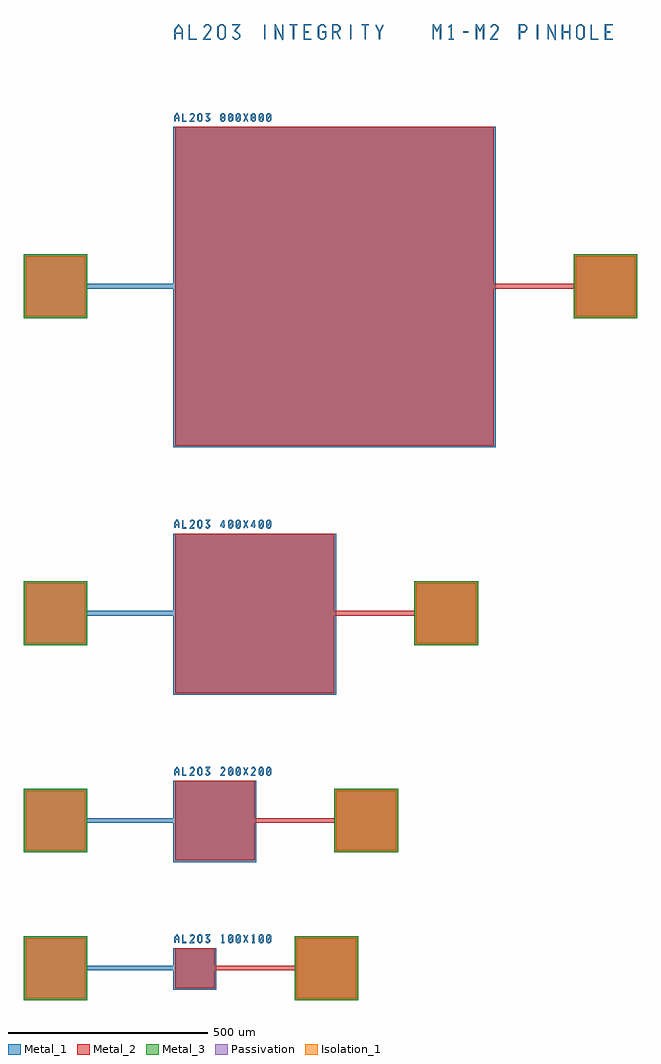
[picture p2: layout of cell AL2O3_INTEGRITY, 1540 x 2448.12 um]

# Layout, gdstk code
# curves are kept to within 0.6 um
import gdstk
lib = gdstk.Library(unit=1e-6, precision=1e-09)
def R(c, l, rs):  # rectangles x0, y0, x1, y1
    for r in rs: c.add(gdstk.rectangle(r[:2], r[2:], *l))
def P(c, l, *ps):  # polygons
    for p in ps: c.add(gdstk.Polygon(p, *l))
Metal_1 = (1, 0)
Isolation_1 = (2, 0)
Metal_2 = (3, 0)
Metal_3 = (5, 0)
Passivation = (6, 0)

al2o3_integrity = lib.new_cell('AL2O3_INTEGRITY')
R(al2o3_integrity, Metal_1, [(-380,-30,-220,130), (-4,-4,104,100), (-221,44,-199,56), (-200,44,-4,56), (-4,316,204,520), (-380,340,-220,500), (-221,414,-199,426), (-200,414,-4,426), (-4,736,404,1140), (-380,860,-220,1020), (-221,934,-199,946), (-200,934,-4,946), (-4,1356,804,2160), (-380,1680,-220,1840), (-221,1754,-199,1766), (-200,1754,-4,1766), (223.5,2380,226.5,2416), (439.5,2380,442.5,2416), (907.5,2380,910.5,2416), (723,2396.5,735,2399.5)])
P(al2o3_integrity, Metal_1, [(70.499,2378.5),(69.9,2379.7),(88.5,2404.5),(88.5,2409.378),(83.378,2414.5),(78.622,2414.5),(73.061,2408.939),(70.939,2411.061),(77.378,2417.5),(84.622,2417.5),(91.5,2410.622),(91.5,2403.5),(75.6,2382.3),(76,2381.5),(90,2381.5),(90,2378.5)],
  [(790.499,2378.5),(789.9,2379.7),(808.5,2404.5),(808.5,2409.378),(803.378,2414.5),(798.622,2414.5),(793.061,2408.939),(790.939,2411.061),(797.378,2417.5),(804.622,2417.5),(811.5,2410.622),(811.5,2403.5),(795.6,2382.3),(796,2381.5),(810,2381.5),(810,2378.5)],
  [(120.1,1154),(120.1,1158.9),(113.7,1158.9),(113.187,1159.73),(120.258,1173.871),(121.599,1173.2),(123.1,1173.2),(123.1,1161.9),(124.8,1161.9),(124.8,1158.9),(123.1,1158.9),(123.1,1154)],
  [(196.9,1154),(196.9,1158.9),(190.5,1158.9),(189.987,1159.73),(197.058,1173.871),(198.399,1173.2),(199.9,1173.2),(199.9,1161.9),(201.6,1161.9),(201.6,1158.9),(199.9,1158.9),(199.9,1154)],
  [(117.778,2172.5),(114.139,2176.139),(113.7,2177.2),(113.7,2182.1),(116.7,2182.1),(116.7,2177.822),(119.022,2175.5),(120.978,2175.5),(123.3,2177.822),(123.3,2182.1),(113.7,2182.1),(113.7,2190.622),(114.778,2191.7),(119.022,2191.7),(116.7,2189.378),(116.7,2185.1),(123.3,2185.1),(123.3,2189.378),(120.978,2191.7),(114.778,2191.7),(117.778,2194.7),(122.222,2194.7),(126.3,2190.622),(126.3,2176.578),(122.222,2172.5)],
  [(194.578,2172.5),(190.939,2176.139),(190.5,2177.2),(190.5,2182.1),(193.5,2182.1),(193.5,2177.822),(195.822,2175.5),(197.778,2175.5),(200.1,2177.822),(200.1,2182.1),(190.5,2182.1),(190.5,2190.622),(191.578,2191.7),(195.822,2191.7),(193.5,2189.378),(193.5,2185.1),(200.1,2185.1),(200.1,2189.378),(197.778,2191.7),(191.578,2191.7),(194.578,2194.7),(199.022,2194.7),(203.1,2190.622),(203.1,2176.578),(199.022,2172.5)],
  [(511.5,2380),(511.5,2397.647),(502.657,2415.329),(505.342,2416.672),(512.553,2402.247),(513.447,2402.247),(520.658,2416.672),(523.343,2415.329),(514.5,2397.647),(514.5,2380)],
  [(17.7,112.5),(17.7,133.2),(20.7,133.2),(20.7,115.5),(28.8,115.5),(28.8,112.5)],
  [(17.7,532.5),(17.7,553.2),(20.7,553.2),(20.7,535.5),(28.8,535.5),(28.8,532.5)],
  [(17.7,1152.5),(17.7,1173.2),(20.7,1173.2),(20.7,1155.5),(28.8,1155.5),(28.8,1152.5)],
  [(17.7,2172.5),(17.7,2193.2),(20.7,2193.2),(20.7,2175.5),(28.8,2175.5),(28.8,2172.5)],
  [(322.5,2378.5),(322.5,2417.5),(342,2417.5),(342,2414.5),(325.5,2414.5),(325.5,2399.5),(336,2399.5),(336,2396.5),(325.5,2396.5),(325.5,2381.5),(342,2381.5),(342,2378.5)],
  [(1078.5,2378.5),(1078.5,2417.5),(1098,2417.5),(1098,2414.5),(1081.5,2414.5),(1081.5,2399.5),(1092,2399.5),(1092,2396.5),(1081.5,2396.5),(1081.5,2381.5),(1098,2381.5),(1098,2378.5)],
  [(-1.5,2380),(-1.5,2404.5),(5.05,2413.233),(8.8,2413.233),(1.5,2403.5),(1.5,2396.5),(16.5,2396.5),(16.5,2403.5),(9.2,2413.233),(5.05,2413.233),(8.7,2418.1),(9.3,2418.1),(19.5,2404.5),(19.5,2380),(16.5,2380),(16.5,2393.5),(1.5,2393.5),(1.5,2380)],
  [(79.378,112.5),(75.739,116.139),(77.861,118.261),(80.622,115.5),(82.578,115.5),(84.9,117.822),(84.9,119.65),(79.1,124),(79.999,125.2),(78.829,126.137),(82.604,130.856),(82.198,131.7),(76.8,131.7),(76.8,134.7),(87.9,134.7),(88.508,133.434),(82.158,125.497),(87.9,121.15),(87.9,116.578),(83.822,112.5)],
  [(79.378,532.5),(75.739,536.139),(77.861,538.261),(80.622,535.5),(82.578,535.5),(84.9,537.822),(84.9,539.65),(79.1,544),(79.999,545.2),(78.829,546.137),(82.604,550.856),(82.198,551.7),(76.8,551.7),(76.8,554.7),(87.9,554.7),(88.508,553.434),(82.158,545.497),(87.9,541.15),(87.9,536.578),(83.822,532.5)],
  [(79.378,1152.5),(75.739,1156.139),(77.861,1158.261),(80.622,1155.5),(82.578,1155.5),(84.9,1157.822),(84.9,1159.65),(79.1,1164),(79.999,1165.2),(78.829,1166.137),(82.604,1170.856),(82.198,1171.7),(76.8,1171.7),(76.8,1174.7),(87.9,1174.7),(88.508,1173.434),(82.158,1165.497),(87.9,1161.15),(87.9,1156.578),(83.822,1152.5)],
  [(79.378,2172.5),(75.739,2176.139),(77.861,2178.261),(80.622,2175.5),(82.578,2175.5),(84.9,2177.822),(84.9,2179.65),(79.1,2184),(79.999,2185.2),(78.829,2186.137),(82.604,2190.856),(82.198,2191.7),(76.8,2191.7),(76.8,2194.7),(87.9,2194.7),(88.508,2193.434),(82.158,2185.497),(87.9,2181.15),(87.9,2176.578),(83.822,2172.5)],
  [(116.8,112.5),(116.8,115.5),(118.5,115.5),(118.5,128.3),(115.739,131.061),(120,135.322),(121.5,134.7),(121.5,115.5),(123.2,115.5),(123.2,112.5)],
  [(193.6,112.5),(193.6,115.5),(195.3,115.5),(195.3,128.3),(192.539,131.061),(196.8,135.322),(198.3,134.7),(198.3,115.5),(200,115.5),(200,112.5)],
  [(60.178,112.5),(56.539,116.139),(56.1,117.2),(56.1,130.622),(57.178,131.7),(61.422,131.7),(59.1,129.378),(59.1,117.822),(61.422,115.5),(63.378,115.5),(65.7,117.822),(65.7,129.378),(63.378,131.7),(57.178,131.7),(60.178,134.7),(64.622,134.7),(68.7,130.622),(68.7,116.578),(64.622,112.5)],
  [(60.178,532.5),(56.539,536.139),(56.1,537.2),(56.1,550.622),(57.178,551.7),(61.422,551.7),(59.1,549.378),(59.1,537.822),(61.422,535.5),(63.378,535.5),(65.7,537.822),(65.7,549.378),(63.378,551.7),(57.178,551.7),(60.178,554.7),(64.622,554.7),(68.7,550.622),(68.7,536.578),(64.622,532.5)],
  [(60.178,1152.5),(56.539,1156.139),(56.1,1157.2),(56.1,1170.622),(57.178,1171.7),(61.422,1171.7),(59.1,1169.378),(59.1,1157.822),(61.422,1155.5),(63.378,1155.5),(65.7,1157.822),(65.7,1169.378),(63.378,1171.7),(57.178,1171.7),(60.178,1174.7),(64.622,1174.7),(68.7,1170.622),(68.7,1156.578),(64.622,1152.5)],
  [(60.178,2172.5),(56.539,2176.139),(56.1,2177.2),(56.1,2190.622),(57.178,2191.7),(61.422,2191.7),(59.1,2189.378),(59.1,2177.822),(61.422,2175.5),(63.378,2175.5),(65.7,2177.822),(65.7,2189.378),(63.378,2191.7),(57.178,2191.7),(60.178,2194.7),(64.622,2194.7),(68.7,2190.622),(68.7,2176.578),(64.622,2172.5)],
  [(412.658,2379.328),(404.072,2396.5),(397.5,2396.5),(397.5,2380),(394.5,2380),(394.5,2414.5),(397.5,2414.5),(397.5,2399.5),(407.378,2399.5),(412.5,2404.622),(412.5,2409.378),(407.378,2414.5),(394.5,2414.5),(394.5,2417.5),(408.622,2417.5),(415.5,2410.622),(415.5,2403.378),(407.825,2395.703),(415.343,2380.671)],
  [(136.978,112.5),(133.339,116.139),(132.9,117.2),(132.9,130.622),(133.978,131.7),(138.222,131.7),(135.9,129.378),(135.9,123.7),(137.1,123.3),(137.55,123.9),(141.3,123.9),(136.381,117.341),(138.222,115.5),(140.178,115.5),(142.5,117.822),(142.5,123.5),(137.55,123.9),(142.019,129.859),(140.178,131.7),(133.978,131.7),(136.978,134.7),(141.422,134.7),(145.5,130.622),(145.5,116.578),(141.422,112.5)],
  [(156.178,112.5),(152.539,116.139),(152.1,117.2),(152.1,130.622),(153.178,131.7),(157.422,131.7),(155.1,129.378),(155.1,123.7),(156.3,123.3),(156.75,123.9),(160.5,123.9),(155.581,117.341),(157.422,115.5),(159.378,115.5),(161.7,117.822),(161.7,123.5),(156.75,123.9),(161.219,129.859),(159.378,131.7),(153.178,131.7),(156.178,134.7),(160.622,134.7),(164.7,130.622),(164.7,116.578),(160.622,112.5)],
  [(136.978,532.5),(133.339,536.139),(132.9,537.2),(132.9,550.622),(133.978,551.7),(138.222,551.7),(135.9,549.378),(135.9,543.7),(137.1,543.3),(137.55,543.9),(141.3,543.9),(136.381,537.341),(138.222,535.5),(140.178,535.5),(142.5,537.822),(142.5,543.5),(137.55,543.9),(142.019,549.859),(140.178,551.7),(133.978,551.7),(136.978,554.7),(141.422,554.7),(145.5,550.622),(145.5,536.578),(141.422,532.5)],
  [(156.178,532.5),(152.539,536.139),(152.1,537.2),(152.1,550.622),(153.178,551.7),(157.422,551.7),(155.1,549.378),(155.1,543.7),(156.3,543.3),(156.75,543.9),(160.5,543.9),(155.581,537.341),(157.422,535.5),(159.378,535.5),(161.7,537.822),(161.7,543.5),(156.75,543.9),(161.219,549.859),(159.378,551.7),(153.178,551.7),(156.178,554.7),(160.622,554.7),(164.7,550.622),(164.7,536.578),(160.622,532.5)],
  [(213.778,112.5),(210.139,116.139),(209.7,117.2),(209.7,130.622),(210.778,131.7),(215.022,131.7),(212.7,129.378),(212.7,123.7),(213.9,123.3),(214.35,123.9),(218.1,123.9),(213.181,117.341),(215.022,115.5),(216.978,115.5),(219.3,117.822),(219.3,123.5),(214.35,123.9),(218.819,129.859),(216.978,131.7),(210.778,131.7),(213.778,134.7),(218.222,134.7),(222.3,130.622),(222.3,116.578),(218.222,112.5)],
  [(232.978,112.5),(229.339,116.139),(228.9,117.2),(228.9,130.622),(229.978,131.7),(234.222,131.7),(231.9,129.378),(231.9,123.7),(233.1,123.3),(233.55,123.9),(237.3,123.9),(232.381,117.341),(234.222,115.5),(236.178,115.5),(238.5,117.822),(238.5,123.5),(233.55,123.9),(238.019,129.859),(236.178,131.7),(229.978,131.7),(232.978,134.7),(237.422,134.7),(241.5,130.622),(241.5,116.578),(237.422,112.5)],
  [(213.778,532.5),(210.139,536.139),(209.7,537.2),(209.7,550.622),(210.778,551.7),(215.022,551.7),(212.7,549.378),(212.7,543.7),(213.9,543.3),(214.35,543.9),(218.1,543.9),(213.181,537.341),(215.022,535.5),(216.978,535.5),(219.3,537.822),(219.3,543.5),(214.35,543.9),(218.819,549.859),(216.978,551.7),(210.778,551.7),(213.778,554.7),(218.222,554.7),(222.3,550.622),(222.3,536.578),(218.222,532.5)],
  [(232.978,532.5),(229.339,536.139),(228.9,537.2),(228.9,550.622),(229.978,551.7),(234.222,551.7),(231.9,549.378),(231.9,543.7),(233.1,543.3),(233.55,543.9),(237.3,543.9),(232.381,537.341),(234.222,535.5),(236.178,535.5),(238.5,537.822),(238.5,543.5),(233.55,543.9),(238.019,549.859),(236.178,551.7),(229.978,551.7),(232.978,554.7),(237.422,554.7),(241.5,550.622),(241.5,536.578),(237.422,532.5)],
  [(136.978,1152.5),(133.339,1156.139),(132.9,1157.2),(132.9,1170.622),(133.978,1171.7),(138.222,1171.7),(135.9,1169.378),(135.9,1163.7),(137.1,1163.3),(137.55,1163.9),(141.3,1163.9),(136.381,1157.341),(138.222,1155.5),(140.178,1155.5),(142.5,1157.822),(142.5,1163.5),(137.55,1163.9),(142.019,1169.859),(140.178,1171.7),(133.978,1171.7),(136.978,1174.7),(141.422,1174.7),(145.5,1170.622),(145.5,1156.578),(141.422,1152.5)],
  [(156.178,1152.5),(152.539,1156.139),(152.1,1157.2),(152.1,1170.622),(153.178,1171.7),(157.422,1171.7),(155.1,1169.378),(155.1,1163.7),(156.3,1163.3),(156.75,1163.9),(160.5,1163.9),(155.581,1157.341),(157.422,1155.5),(159.378,1155.5),(161.7,1157.822),(161.7,1163.5),(156.75,1163.9),(161.219,1169.859),(159.378,1171.7),(153.178,1171.7),(156.178,1174.7),(160.622,1174.7),(164.7,1170.622),(164.7,1156.578),(160.622,1152.5)],
  [(136.978,2172.5),(133.339,2176.139),(132.9,2177.2),(132.9,2190.622),(133.978,2191.7),(138.222,2191.7),(135.9,2189.378),(135.9,2183.7),(137.1,2183.3),(137.55,2183.9),(141.3,2183.9),(136.381,2177.341),(138.222,2175.5),(140.178,2175.5),(142.5,2177.822),(142.5,2183.5),(137.55,2183.9),(142.019,2189.859),(140.178,2191.7),(133.978,2191.7),(136.978,2194.7),(141.422,2194.7),(145.5,2190.622),(145.5,2176.578),(141.422,2172.5)],
  [(156.178,2172.5),(152.539,2176.139),(152.1,2177.2),(152.1,2190.622),(153.178,2191.7),(157.422,2191.7),(155.1,2189.378),(155.1,2183.7),(156.3,2183.3),(156.75,2183.9),(160.5,2183.9),(155.581,2177.341),(157.422,2175.5),(159.378,2175.5),(161.7,2177.822),(161.7,2183.5),(156.75,2183.9),(161.219,2189.859),(159.378,2191.7),(153.178,2191.7),(156.178,2194.7),(160.622,2194.7),(164.7,2190.622),(164.7,2176.578),(160.622,2172.5)],
  [(213.778,1152.5),(210.139,1156.139),(209.7,1157.2),(209.7,1170.622),(210.778,1171.7),(215.022,1171.7),(212.7,1169.378),(212.7,1163.7),(213.9,1163.3),(214.35,1163.9),(218.1,1163.9),(213.181,1157.341),(215.022,1155.5),(216.978,1155.5),(219.3,1157.822),(219.3,1163.5),(214.35,1163.9),(218.819,1169.859),(216.978,1171.7),(210.778,1171.7),(213.778,1174.7),(218.222,1174.7),(222.3,1170.622),(222.3,1156.578),(218.222,1152.5)],
  [(232.978,1152.5),(229.339,1156.139),(228.9,1157.2),(228.9,1170.622),(229.978,1171.7),(234.222,1171.7),(231.9,1169.378),(231.9,1163.7),(233.1,1163.3),(233.55,1163.9),(237.3,1163.9),(232.381,1157.341),(234.222,1155.5),(236.178,1155.5),(238.5,1157.822),(238.5,1163.5),(233.55,1163.9),(238.019,1169.859),(236.178,1171.7),(229.978,1171.7),(232.978,1174.7),(237.422,1174.7),(241.5,1170.622),(241.5,1156.578),(237.422,1152.5)],
  [(213.778,2172.5),(210.139,2176.139),(209.7,2177.2),(209.7,2190.622),(210.778,2191.7),(215.022,2191.7),(212.7,2189.378),(212.7,2183.7),(213.9,2183.3),(214.35,2183.9),(218.1,2183.9),(213.181,2177.341),(215.022,2175.5),(216.978,2175.5),(219.3,2177.822),(219.3,2183.5),(214.35,2183.9),(218.819,2189.859),(216.978,2191.7),(210.778,2191.7),(213.778,2194.7),(218.222,2194.7),(222.3,2190.622),(222.3,2176.578),(218.222,2172.5)],
  [(232.978,2172.5),(229.339,2176.139),(228.9,2177.2),(228.9,2190.622),(229.978,2191.7),(234.222,2191.7),(231.9,2189.378),(231.9,2183.7),(233.1,2183.3),(233.55,2183.9),(237.3,2183.9),(232.381,2177.341),(234.222,2175.5),(236.178,2175.5),(238.5,2177.822),(238.5,2183.5),(233.55,2183.9),(238.019,2189.859),(236.178,2191.7),(229.978,2191.7),(232.978,2194.7),(237.422,2194.7),(241.5,2190.622),(241.5,2176.578),(237.422,2172.5)],
  [(113.378,2378.5),(106.939,2384.939),(106.5,2386),(106.5,2410.622),(110.378,2414.5),(114.622,2414.5),(109.5,2409.378),(109.5,2386.622),(114.622,2381.5),(119.378,2381.5),(124.5,2386.622),(124.5,2409.378),(119.378,2414.5),(110.378,2414.5),(113.378,2417.5),(120.622,2417.5),(127.5,2410.622),(127.5,2385.378),(120.622,2378.5)],
  [(1013.378,2378.5),(1006.939,2384.939),(1006.5,2386),(1006.5,2410.622),(1010.378,2414.5),(1014.622,2414.5),(1009.5,2409.378),(1009.5,2386.622),(1014.622,2381.5),(1019.378,2381.5),(1024.5,2386.622),(1024.5,2409.378),(1019.378,2414.5),(1010.378,2414.5),(1013.378,2417.5),(1020.622,2417.5),(1027.5,2410.622),(1027.5,2385.378),(1020.622,2378.5)],
  [(-1.5,114),(-1.5,127.3),(0.85,130.433),(4.6,130.433),(1.5,126.3),(1.5,123.5),(8.1,123.5),(8.1,126.3),(5,130.433),(0.85,130.433),(4.5,135.3),(5.1,135.3),(11.1,127.3),(11.1,114),(8.1,114),(8.1,120.5),(1.5,120.5),(1.5,114)],
  [(-1.5,534),(-1.5,547.3),(0.85,550.433),(4.6,550.433),(1.5,546.3),(1.5,543.5),(8.1,543.5),(8.1,546.3),(5,550.433),(0.85,550.433),(4.5,555.3),(5.1,555.3),(11.1,547.3),(11.1,534),(8.1,534),(8.1,540.5),(1.5,540.5),(1.5,534)],
  [(-1.5,1154),(-1.5,1167.3),(0.85,1170.433),(4.6,1170.433),(1.5,1166.3),(1.5,1163.5),(8.1,1163.5),(8.1,1166.3),(5,1170.433),(0.85,1170.433),(4.5,1175.3),(5.1,1175.3),(11.1,1167.3),(11.1,1154),(8.1,1154),(8.1,1160.5),(1.5,1160.5),(1.5,1154)],
  [(-1.5,2174),(-1.5,2187.3),(0.85,2190.433),(4.6,2190.433),(1.5,2186.3),(1.5,2183.5),(8.1,2183.5),(8.1,2186.3),(5,2190.433),(0.85,2190.433),(4.5,2195.3),(5.1,2195.3),(11.1,2187.3),(11.1,2174),(8.1,2174),(8.1,2180.5),(1.5,2180.5),(1.5,2174)],
  [(687,2378.5),(687,2381.5),(691.5,2381.5),(691.5,2410.964),(690.5,2411.378),(688.061,2408.939),(685.939,2411.061),(693,2418.122),(694.5,2417.5),(694.5,2381.5),(699,2381.5),(699,2378.5)],
  [(365.378,2378.5),(358.5,2385.378),(358.5,2410.622),(365.378,2417.5),(372.622,2417.5),(379.061,2411.061),(376.939,2408.939),(371.378,2414.5),(366.622,2414.5),(361.5,2409.378),(361.5,2386.622),(366.622,2381.5),(371.378,2381.5),(376.5,2386.622),(376.5,2396.5),(369,2396.5),(369,2399.5),(379.5,2399.5),(379.5,2385.378),(372.622,2378.5)],
  [(295.5,2380),(295.5,2414.5),(288,2414.5),(288,2417.5),(306,2417.5),(306,2414.5),(298.5,2414.5),(298.5,2380)],
  [(475.5,2380),(475.5,2414.5),(468,2414.5),(468,2417.5),(486,2417.5),(486,2414.5),(478.5,2414.5),(478.5,2380)],
  [(269.328,2377.987),(254.947,2406.753),(253.5,2406.411),(253.5,2380),(250.5,2380),(250.5,2417.501),(252.672,2418.013),(267.053,2389.247),(268.5,2389.589),(268.5,2416),(271.5,2416),(271.5,2378.499)],
  [(953.328,2377.987),(938.947,2406.753),(937.5,2406.411),(937.5,2380),(934.5,2380),(934.5,2417.501),(936.672,2418.013),(951.053,2389.247),(952.5,2389.589),(952.5,2416),(955.5,2416),(955.5,2378.499)],
  [(646.5,2380),(646.5,2417.5),(648.515,2418.058),(656.657,2404.486),(657.343,2404.486),(665.485,2418.058),(667.5,2417.5),(667.5,2380),(664.5,2380),(664.5,2407.975),(663.157,2408.347),(657.514,2398.942),(656.486,2398.942),(650.843,2408.347),(649.5,2407.975),(649.5,2380)],
  [(754.5,2380),(754.5,2417.5),(756.515,2418.058),(764.657,2404.486),(765.343,2404.486),(773.485,2418.058),(775.5,2417.5),(775.5,2380),(772.5,2380),(772.5,2407.975),(771.157,2408.347),(765.514,2398.942),(764.486,2398.942),(758.843,2408.347),(757.5,2407.975),(757.5,2380)],
  [(34.5,2378.5),(34.5,2416),(37.5,2416),(37.5,2381.5),(54,2381.5),(54,2378.5)],
  [(1042.5,2378.5),(1042.5,2416),(1045.5,2416),(1045.5,2381.5),(1062,2381.5),(1062,2378.5)],
  [(36.899,112.5),(36.3,113.7),(46.5,127.3),(46.5,129.378),(44.178,131.7),(42.222,131.7),(39.461,128.939),(37.339,131.061),(40.978,134.7),(45.422,134.7),(49.5,130.622),(49.5,126.3),(42,116.3),(42.4,115.5),(48,115.5),(48,112.5)],
  [(36.899,532.5),(36.3,533.7),(46.5,547.3),(46.5,549.378),(44.178,551.7),(42.222,551.7),(39.461,548.939),(37.339,551.061),(40.978,554.7),(45.422,554.7),(49.5,550.622),(49.5,546.3),(42,536.3),(42.4,535.5),(48,535.5),(48,532.5)],
  [(113.699,532.5),(113.1,533.7),(123.3,547.3),(123.3,549.378),(120.978,551.7),(119.022,551.7),(116.261,548.939),(114.139,551.061),(117.778,554.7),(122.222,554.7),(126.3,550.622),(126.3,546.3),(118.8,536.3),(119.2,535.5),(124.8,535.5),(124.8,532.5)],
  [(190.499,532.5),(189.9,533.7),(200.1,547.3),(200.1,549.378),(197.778,551.7),(195.822,551.7),(193.061,548.939),(190.939,551.061),(194.578,554.7),(199.022,554.7),(203.1,550.622),(203.1,546.3),(195.6,536.3),(196,535.5),(201.6,535.5),(201.6,532.5)],
  [(36.899,1152.5),(36.3,1153.7),(46.5,1167.3),(46.5,1169.378),(44.178,1171.7),(42.222,1171.7),(39.461,1168.939),(37.339,1171.061),(40.978,1174.7),(45.422,1174.7),(49.5,1170.622),(49.5,1166.3),(42,1156.3),(42.4,1155.5),(48,1155.5),(48,1152.5)],
  [(36.899,2172.5),(36.3,2173.7),(46.5,2187.3),(46.5,2189.378),(44.178,2191.7),(42.222,2191.7),(39.461,2188.939),(37.339,2191.061),(40.978,2194.7),(45.422,2194.7),(49.5,2190.622),(49.5,2186.3),(42,2176.3),(42.4,2175.5),(48,2175.5),(48,2172.5)],
  [(862.5,2380),(862.5,2414.5),(865.5,2414.5),(865.5,2399.5),(875.378,2399.5),(880.5,2404.622),(880.5,2409.378),(875.378,2414.5),(862.5,2414.5),(862.5,2417.5),(876.622,2417.5),(883.5,2410.622),(883.5,2403.378),(876.622,2396.5),(865.5,2396.5),(865.5,2380)],
  [(149.378,2378.5),(142.939,2384.939),(145.061,2387.061),(150.622,2381.5),(155.378,2381.5),(160.5,2386.622),(160.5,2391.25),(149.1,2399.8),(149.999,2401),(148.83,2401.937),(158.204,2413.656),(157.798,2414.5),(144,2414.5),(144,2417.5),(163.5,2417.5),(164.108,2416.234),(152.158,2401.297),(163.5,2392.75),(163.5,2385.378),(156.622,2378.5)],
  [(970.5,2380),(970.5,2416),(973.5,2416),(973.5,2399.5),(988.5,2399.5),(988.5,2416),(991.5,2416),(991.5,2380),(988.5,2380),(988.5,2396.5),(973.5,2396.5),(973.5,2380)],
  [(174.142,113.328),(171.457,114.671),(175.922,123.6),(171.457,132.529),(174.142,133.872),(177.153,127.848),(178.047,127.848),(181.058,133.872),(183.743,132.529),(179.277,123.6),(183.743,114.671),(181.058,113.328),(178.047,119.352),(177.153,119.352)],
  [(174.142,533.328),(171.457,534.671),(175.922,543.6),(171.457,552.529),(174.142,553.872),(177.153,547.848),(178.047,547.848),(181.058,553.872),(183.743,552.529),(179.277,543.6),(183.743,534.671),(181.058,533.328),(178.047,539.352),(177.153,539.352)],
  [(174.142,1153.328),(171.457,1154.671),(175.922,1163.6),(171.457,1172.529),(174.142,1173.872),(177.153,1167.848),(178.047,1167.848),(181.058,1173.872),(183.743,1172.529),(179.277,1163.6),(183.743,1154.671),(181.058,1153.328),(178.047,1159.352),(177.153,1159.352)],
  [(174.142,2173.328),(171.457,2174.671),(175.922,2183.6),(171.457,2192.529),(174.142,2193.872),(177.153,2187.848),(178.047,2187.848),(181.058,2193.872),(183.743,2192.529),(179.277,2183.6),(183.743,2174.671),(181.058,2173.328),(178.047,2179.352),(177.153,2179.352)])
R(al2o3_integrity, Isolation_1, [(-375,-25,-225,125), (305,-25,455,125), (-375,345,-225,495), (405,345,555,495), (-375,865,-225,1015), (605,865,755,1015), (-375,1685,-225,1835), (1005,1685,1155,1835)])
R(al2o3_integrity, Metal_2, [(300,-30,460,130), (0,0,100,100), (100,44,300,56), (0,320,200,520), (400,340,560,500), (200,414,400,426), (0,740,400,1140), (600,860,760,1020), (400,934,600,946), (0,1360,800,2160), (1000,1680,1160,1840), (800,1754,1000,1766)])
R(al2o3_integrity, Metal_3, [(-380,-30,-220,130), (300,-30,460,130), (-380,340,-220,500), (400,340,560,500), (-380,860,-220,1020), (600,860,760,1020), (-380,1680,-220,1840), (1000,1680,1160,1840)])
R(al2o3_integrity, Passivation, [(-375,-25,-225,125), (305,-25,455,125), (-375,345,-225,495), (405,345,555,495), (-375,865,-225,1015), (605,865,755,1015), (-375,1685,-225,1835), (1005,1685,1155,1835)])

lib.write_gds('AL2O3_INTEGRITY.gds')
